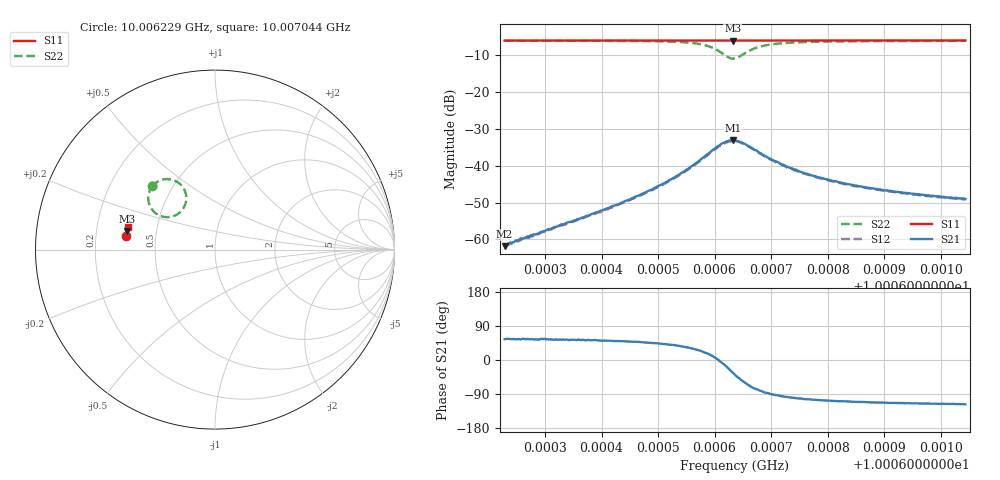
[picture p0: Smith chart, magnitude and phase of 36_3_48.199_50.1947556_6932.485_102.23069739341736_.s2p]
#  HZ  S  RI  R  50.00
! Rohde & Schwarz Vector Network Analyzer
! Rohde-Schwarz,ZNB20-2Port,1311601062101988,3.16
! Created: UTC 3/20/2024, 11:37:40 AM
! freq[Hz]  re:S11  im:S11  re:S21  im:S21  re:S12  im:S12  re:S22  im:S22
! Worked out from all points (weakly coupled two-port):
!   401 points, 10.006229 GHz to 10.007044 GHz, reference 50 ohm
!   highest |S21| = -33.03 dB at 10.006632 GHz (marker M1); lowest = -61.8 dB at 10.006229 GHz (marker M2)
!   lowest |S11| = -6.0 dB at 10.006632 GHz (marker M3), VSWR 3.00, Z = 16.8 + j4.59 ohm
!   |S11| at or under -10 dB: nowhere
!   |S22| runs from -10.9 to -6.0 dB; largest |S21 - S12| = 0.0016
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1.00062285e10  -0.496 0.077  0.000469 0.000662  0.00045 0.000702  -0.3527 0.3538
1.00062571e10  -0.4957 0.0789  0.000607 0.000844  0.00054 0.000815  -0.3503 0.3563
1.00063651e10  -0.4946 0.086  0.00117 0.0016  0.00111 0.00159  -0.338 0.367
1.00064283e10  -0.4941 0.0901  0.0019 0.00229  0.00178 0.00233  -0.3266 0.3753
1.0006469e10  -0.4936 0.0929  0.00275 0.003  0.00258 0.00301  -0.3152 0.3818
1.00065016e10  -0.4932 0.095  0.00389 0.00371  0.0036 0.00378  -0.3016 0.3872
1.00065444e10  -0.4925 0.098  0.00672 0.00478  0.00631 0.00499  -0.2704 0.3931
1.00065852e10  -0.4914 0.1007  0.0132 0.00444  0.0126 0.00487  -0.2088 0.376
1.00065995e10  -0.4907 0.1016  0.0168 0.00211  0.0162 0.00286  -0.1794 0.3478
1.00066137e10  -0.4903 0.102  0.02 -0.00272  0.0195 -0.00173  -0.1601 0.2954
1.00066239e10  -0.4901 0.1022  0.0202 -0.0079  0.02 -0.00661  -0.1677 0.2467
1.00066321e10  -0.4899 0.1023  0.0187 -0.0122  0.0188 -0.0106  -0.191 0.2117
1.00066362e10  -0.49 0.1023  0.0172 -0.0139  0.0175 -0.0126  -0.2075 0.1982
1.00066525e10  -0.4905 0.1027  0.0104 -0.0171  0.0111 -0.0162  -0.2798 0.1816
1.00066667e10  -0.4908 0.1037  0.00527 -0.0165  0.00621 -0.0159  -0.3259 0.1991
1.0006683e10  -0.491 0.1047  0.00189 -0.0145  0.00265 -0.0142  -0.3537 0.2273
1.00067299e10  -0.491 0.1082  -0.0013 -0.00958  -0.000804 -0.00931  -0.3719 0.2838
1.00067727e10  -0.4905 0.1111  -0.00186 -0.00714  -0.00147 -0.0071  -0.3693 0.3096
1.00068339e10  -0.4897 0.1153  -0.00186 -0.00536  -0.00156 -0.00537  -0.3631 0.3296
1.00069093e10  -0.4887 0.12  -0.0018 -0.00422  -0.00155 -0.00421  -0.3556 0.3439
1.00069684e10  -0.4881 0.1239  -0.0017 -0.00368  -0.00148 -0.00364  -0.3509 0.3514
1.00070438e10  -0.4868 0.1286  -0.00161 -0.00317  -0.00143 -0.00321  -0.3453 0.3592
